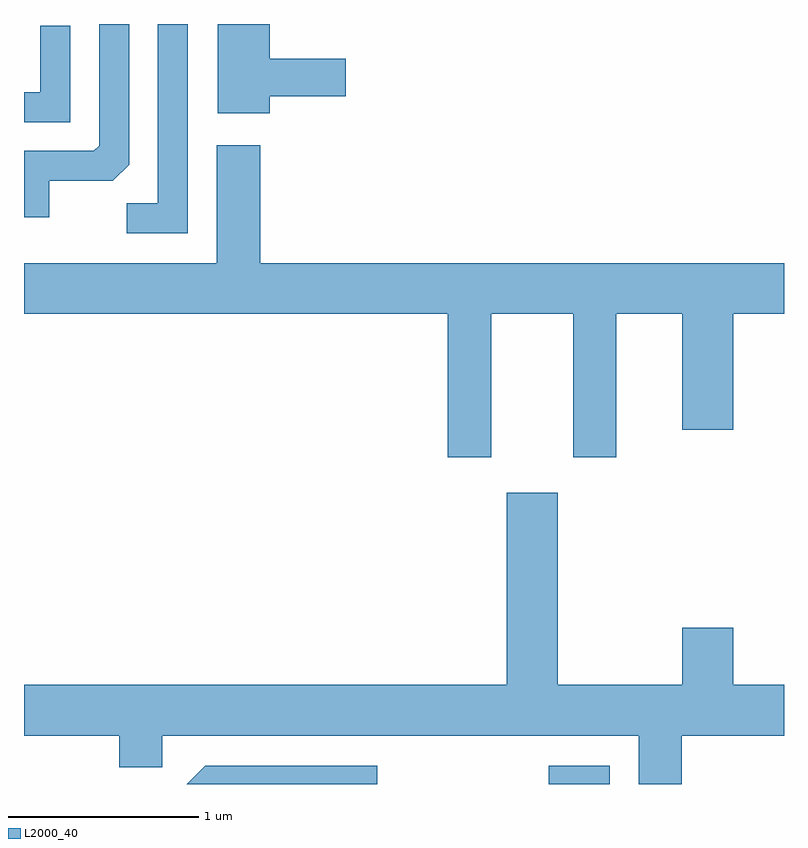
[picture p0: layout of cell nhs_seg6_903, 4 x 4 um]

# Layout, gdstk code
import gdstk
lib = gdstk.Library(unit=1e-6, precision=1e-09)
def R(c, l, rs):  # rectangles x0, y0, x1, y1
    for r in rs: c.add(gdstk.rectangle(r[:2], r[2:], *l))
def P(c, l, *ps):  # polygons
    for p in ps: c.add(gdstk.Polygon(p, *l))
L2000_40 = (2000, 40)

nhs_seg6_903 = lib.new_cell('nhs_seg6_903')
R(nhs_seg6_903, L2000_40, [(214.373,1614.162,214.694,1614.259)])
P(nhs_seg6_903, L2000_40, [(211.744,1617.336),(212.079,1617.336),(212.164,1617.422),(212.164,1618.162),(212.006,1618.162),(212.006,1617.522),(211.979,1617.494),(211.611,1617.494),(211.611,1617.146),(211.744,1617.146)],
  [(212.474,1618.162),(212.316,1618.162),(212.316,1617.219),(212.153,1617.219),(212.153,1617.061),(212.474,1617.061)],
  [(212.904,1617.781),(213.304,1617.781),(213.304,1617.979),(212.904,1617.979),(212.904,1618.162),(212.631,1618.162),(212.631,1617.691),(212.904,1617.691)],
  [(211.854,1618.153),(211.696,1618.153),(211.696,1617.804),(211.611,1617.804),(211.611,1617.646),(211.854,1617.646)],
  [(214.069,1616.636),(214.501,1616.636),(214.501,1615.881),(214.729,1615.881),(214.729,1616.636),(215.076,1616.636),(215.076,1616.026),(215.344,1616.026),(215.344,1616.636),(215.611,1616.636),(215.611,1616.904),(212.854,1616.904),(212.854,1617.524),(212.626,1617.524),(212.626,1616.904),(211.611,1616.904),(211.611,1616.636),(213.841,1616.636),(213.841,1615.881),(214.069,1615.881)],
  [(215.074,1614.416),(215.611,1614.416),(215.611,1614.684),(215.344,1614.684),(215.344,1614.984),(215.076,1614.984),(215.076,1614.684),(214.419,1614.684),(214.419,1615.694),(214.151,1615.694),(214.151,1614.684),(211.611,1614.684),(211.611,1614.416),(212.111,1614.416),(212.111,1614.251),(212.339,1614.251),(212.339,1614.416),(214.846,1614.416),(214.846,1614.162),(215.074,1614.162)],
  [(213.469,1614.259),(212.564,1614.259),(212.467,1614.162),(213.469,1614.162)])

lib.write_gds('nhs_seg6_903.gds')
